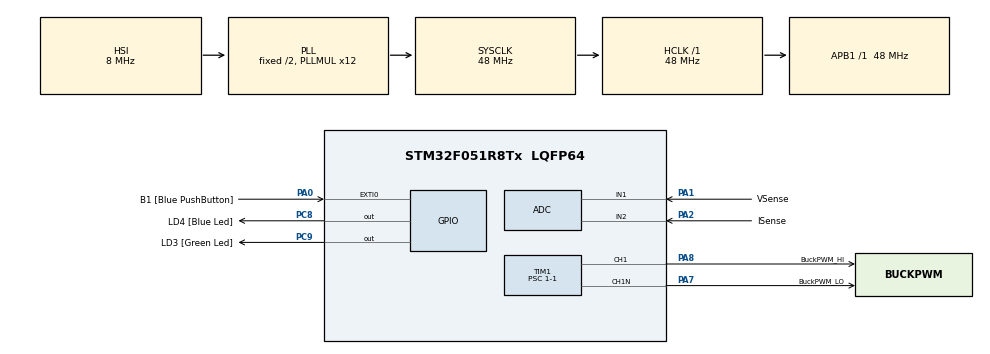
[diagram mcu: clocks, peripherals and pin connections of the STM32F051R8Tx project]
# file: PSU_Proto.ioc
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ADC.ClockPrescaler=ADC_CLOCK_SYNC_PCLK_DIV4
ADC.ContinuousConvMode=DISABLE
ADC.DiscontinuousConvMode=ENABLE
ADC.EOCSelection=ADC_EOC_SINGLE_CONV
ADC.SamplingTime=ADC_SAMPLETIME_1CYCLE_5
Mcu.Family=STM32F0
Mcu.Name=STM32F051R8Tx
Mcu.Package=LQFP64
PA0.GPIO_Label=B1 [Blue PushButton]
PA0.GPIO_ModeDefaultEXTI=GPIO_MODE_EVT_RISING_FALLING
PA0.GPIO_PuPd=GPIO_PULLDOWN
PA0.Signal=GPXTI0
PA1.GPIO_Label=VSense
PA1.Mode=IN1
PA1.Signal=ADC_IN1
PA13.GPIO_Label=SWDIO
PA13.Mode=Serial_Wire
PA13.Signal=SYS_SWDIO
PA14.GPIO_Label=SWCLK
PA14.Mode=Serial_Wire
PA14.Signal=SYS_SWCLK
PA2.GPIO_Label=ISense
PA2.Mode=IN2
PA2.Signal=ADC_IN2
PA7.GPIO_Label=BuckPWM_LO
PA7.Mode=PWM Generation1 CH1 CH1N
PA7.Signal=TIM1_CH1N
PA8.GPIO_Label=BuckPWM_HI
PA8.Signal=S_TIM1_CH1
PC8.GPIO_Label=LD4 [Blue Led]
PC8.Signal=GPIO_Output
PC9.GPIO_Label=LD3 [Green Led]
PC9.Signal=GPIO_Output
ProjectManager.HeapSize=0x200
ProjectManager.StackSize=0x400
ProjectManager.TargetToolchain=SW4STM32
RCC.AHBFreq_Value=48000000
RCC.APB1Freq_Value=48000000
RCC.APB1TimFreq_Value=48000000
RCC.HCLKFreq_Value=48000000
RCC.PLLMUL=RCC_PLL_MUL12
RCC.SYSCLKFreq_VALUE=48000000
RCC.SYSCLKSource=RCC_SYSCLKSOURCE_PLLCLK
SH.S_TIM1_CH1.0=TIM1_CH1,PWM Generation1 CH1 CH1N
TIM1.AutoReloadPreload=TIM_AUTORELOAD_PRELOAD_DISABLE
TIM1.AutomaticOutput=TIM_AUTOMATICOUTPUT_DISABLE
TIM1.BreakPolarity=TIM_BREAKPOLARITY_HIGH
TIM1.BreakState=TIM_BREAK_DISABLE
TIM1.Channel-PWM\ Generation1\ CH1\ CH1N=TIM_CHANNEL_1
TIM1.CounterMode=TIM_COUNTERMODE_UP
TIM1.DeadTime=5
TIM1.LockLevel=TIM_LOCKLEVEL_OFF
TIM1.OCIdleState_1=TIM_OCIDLESTATE_RESET
TIM1.OCNIdleState_1=TIM_OCNIDLESTATE_RESET
TIM1.OCNPolarity_1=TIM_OCNPOLARITY_HIGH
TIM1.OCPolarity_1=TIM_OCPOLARITY_HIGH
TIM1.OffStateIDLEMode=TIM_OSSI_DISABLE
TIM1.OffStateRunMode=TIM_OSSR_DISABLE
TIM1.Period=96-1
TIM1.Prescaler=1-1
TIM1.TIM_MasterOutputTrigger=TIM_TRGO_RESET
VP_TIM1_VS_ClockSourceINT.Mode=Internal
board=STM32F0DISCOVERY

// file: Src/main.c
/* USER CODE BEGIN Header */
/**
  ******************************************************************************
  * @file           : main.c
  * @brief          : Main program body
  ******************************************************************************
  * @attention
  *
  * <h2><center>&copy; Copyright (c) 2019 STMicroelectronics.
  * All rights reserved.</center></h2>
  *
  * This software component is licensed by ST under BSD 3-Clause license,
  * the "License"; You may not use this file except in compliance with the
  * License. You may obtain a copy of the License at:
  *                        opensource.org/licenses/BSD-3-Clause
  *
  ******************************************************************************
  */
/* USER CODE END Header */

#include "main.h"

/* USER CODE BEGIN Includes */
    #include "arm_math.h"

/* USER CODE END Includes */

/* USER CODE BEGIN PD */
    #define VOLT_DIV_FACTOR		0.0490 	// assuming R1 = 16.4k and R2 = 1k
    #define CURR_DIV_FACTOR 	0.5*0.35		// CSA gain is 0.5V/A
	#define N					500		// moving avg approx uses 500 past samples
/* USER CODE END PD */

ADC_HandleTypeDef hadc;

TIM_HandleTypeDef htim1;

/* USER CODE BEGIN PV */
    float pwm_val = 0;
    float v_sense = 0;
    float i_sense = 0;
    float rload = 0;                //calculated load resistance??
    float pid_error = 0;
    int user_en = 1;                	//output enable
    float i_lim = 0.020;                //user selected current limit
    float v_lim = 5;                //user selected voltage limiit
    float v_sense_avg = 0;
    float i_sense_avg = 0;
    float pid_error_avg = 0;

    int cv_cc = 1;					//cv = 1, cc = 0 (modes of operation)

/* USER CODE END PV */

void SystemClock_Config(void);
static void MX_GPIO_Init(void);
static void MX_ADC_Init(void);
static void MX_TIM1_Init(void);
/* USER CODE BEGIN PFP */
static float approxMovingAvg(float avg, float new_sample);
/* USER CODE END PFP */

int main(void)
{
  /* USER CODE BEGIN 1 */
    int raw_voltage = 0;            //12b value from adc for vsense
    int raw_current = 0;            //12b value from adc for isense
    float voltage = 0;              //0-3V conversion for voltage
    float current = 0;              //0-3V conversion for current
    float percent_voltage = 0;      //%V from 0-3
    float percent_current = 0;      //%I signal from 0-3V

    float PID_Kp = 300;             //proportional gain
    float PID_Ki = 0.001;           //integral gain
    float PID_Kd = -5;              //derivative gain

  /* USER CODE END 1 */

  /* MCU Configuration--------------------------------------------------------*/

  /* Reset of all peripherals, Initializes the Flash interface and the Systick. */
  HAL_Init();

  /* USER CODE BEGIN Init */
      arm_pid_instance_f32 PID;     //ARM PID instance float 32b

      PID.Kp = PID_Kp;
      PID.Ki = PID_Ki;
      PID.Kd = PID_Kd;

      arm_pid_init_f32(&PID, 1);

  /* USER CODE END Init */

  /* Configure the system clock */
  SystemClock_Config();

  /* Initialize all configured peripherals */
  MX_GPIO_Init();
  MX_ADC_Init();
  MX_TIM1_Init();
  /* USER CODE BEGIN 2 */
  HAL_TIM_PWM_Start(&htim1, TIM_CHANNEL_1);
  HAL_TIMEx_PWMN_Start(&htim1, TIM_CHANNEL_1);
  HAL_Delay(100);	//delay to allow micro to startup before pwm output

  /* USER CODE END 2 */

  /* Infinite loop */
  while (1)
  {

    /* USER CODE BEGIN 3 */
      user_en = HAL_GPIO_ReadPin(B1_GPIO_Port, B1_Pin);

      HAL_ADC_Start(&hadc);                             //start ADC
      HAL_ADC_PollForConversion(&hadc, 10);             //poll until complete
      raw_voltage = HAL_ADC_GetValue(&hadc);            //collect raw voltage

      HAL_ADC_Start(&hadc);                             //start ADC
      HAL_ADC_PollForConversion(&hadc, 10);             //poll until complete
      raw_current = HAL_ADC_GetValue(&hadc);            //collect raw current

      HAL_ADC_Stop(&hadc);                              //stop ADC

      percent_voltage = ((float) raw_voltage) / 4092;   //%V
      percent_current = ((float) raw_current) / 4092;   //%I

      voltage = percent_voltage * 3;                    //0-3V voltage signal
      current = percent_current * 3;                    //0-3V current signal

      v_sense = voltage / VOLT_DIV_FACTOR;              //0-50V voltage
      i_sense = current / CURR_DIV_FACTOR;              //0-3A current

      v_sense_avg = approxMovingAvg(v_sense_avg, v_sense);
      i_sense_avg = approxMovingAvg(i_sense_avg, i_sense);

      rload = v_sense_avg / i_sense_avg;                       	//calculated load R???

      if(i_sense_avg >= i_lim)	//cc mode
    	  cv_cc = 0;
      else if(v_sense_avg >= v_lim)	//cv mode
    	  cv_cc = 1;

      //for debugging only (simulated current and voltage sensing)
    /*  if(voltage < 1.5)
         HAL_GPIO_WritePin(LD4_GPIO_Port, LD4_Pin, GPIO_PIN_RESET);
      else
          HAL_GPIO_WritePin(LD4_GPIO_Port, LD4_Pin, GPIO_PIN_SET);

      if(current < 1.5)
          HAL_GPIO_WritePin(LD3_GPIO_Port, LD3_Pin, GPIO_PIN_RESET);
      else
          HAL_GPIO_WritePin(LD3_GPIO_Port, LD3_Pin, GPIO_PIN_SET);
	*/

      if(cv_cc == 1){
    	  HAL_GPIO_WritePin(LD3_GPIO_Port, LD3_Pin, GPIO_PIN_RESET);
    	  HAL_GPIO_WritePin(LD4_GPIO_Port, LD4_Pin, GPIO_PIN_SET);
      }
      else
      {
    	  HAL_GPIO_WritePin(LD3_GPIO_Port, LD3_Pin, GPIO_PIN_SET);
    	  HAL_GPIO_WritePin(LD4_GPIO_Port, LD4_Pin, GPIO_PIN_RESET);
      }

      if(cv_cc == 1){ 	//if in CV mode
    	  pid_error = v_lim - v_sense_avg;
	  }
      else {			//in CC mode
    	  pid_error = i_lim - i_sense_avg;
      }

      //PWM calculation via PID
      //pid_error = v_lim - v_sense_avg;
      //pid_error_avg = approxMovingAvg(pid_error_avg, pid_error);
      //pwm_val = arm_pid_f32(&PID, pid_error);

      //for debugging using potentiometer
      pwm_val = current*30;

      //pwm max duty cycle values
      if(pwm_val > 100)
    	pwm_val = 100;

      if(pwm_val < 0)
    	  pwm_val = 0;

      //setting new PWM val in timer reg
      __HAL_TIM_SET_COMPARE(&htim1, TIM_CHANNEL_1,pwm_val);

  }
  /* USER CODE END 3 */
}

void SystemClock_Config(void)
{
  RCC_OscInitTypeDef RCC_OscInitStruct = {0};
  RCC_ClkInitTypeDef RCC_ClkInitStruct = {0};

  /** Initializes the CPU, AHB and APB busses clocks
  */
  RCC_OscInitStruct.OscillatorType = RCC_OSCILLATORTYPE_HSI;
  RCC_OscInitStruct.HSIState = RCC_HSI_ON;
  RCC_OscInitStruct.HSICalibrationValue = RCC_HSICALIBRATION_DEFAULT;
  RCC_OscInitStruct.PLL.PLLState = RCC_PLL_ON;
  RCC_OscInitStruct.PLL.PLLSource = RCC_PLLSOURCE_HSI;
  RCC_OscInitStruct.PLL.PLLMUL = RCC_PLL_MUL12;
  RCC_OscInitStruct.PLL.PREDIV = RCC_PREDIV_DIV1;
  if (HAL_RCC_OscConfig(&RCC_OscInitStruct) != HAL_OK)
  {
    Error_Handler();
  }
  /** Initializes the CPU, AHB and APB busses clocks
  */
  RCC_ClkInitStruct.ClockType = RCC_CLOCKTYPE_HCLK|RCC_CLOCKTYPE_SYSCLK
                              |RCC_CLOCKTYPE_PCLK1;
  RCC_ClkInitStruct.SYSCLKSource = RCC_SYSCLKSOURCE_PLLCLK;
  RCC_ClkInitStruct.AHBCLKDivider = RCC_SYSCLK_DIV1;
  RCC_ClkInitStruct.APB1CLKDivider = RCC_HCLK_DIV1;

  if (HAL_RCC_ClockConfig(&RCC_ClkInitStruct, FLASH_LATENCY_1) != HAL_OK)
  {
    Error_Handler();
  }
}

static void MX_ADC_Init(void)
{

  ADC_ChannelConfTypeDef sConfig = {0};

  /** Configure the global features of the ADC (Clock, Resolution, Data Alignment and number of conversion)
  */
  hadc.Instance = ADC1;
  hadc.Init.ClockPrescaler = ADC_CLOCK_SYNC_PCLK_DIV4;
  hadc.Init.Resolution = ADC_RESOLUTION_12B;
  hadc.Init.DataAlign = ADC_DATAALIGN_RIGHT;
  hadc.Init.ScanConvMode = ADC_SCAN_DIRECTION_FORWARD;
  hadc.Init.EOCSelection = ADC_EOC_SINGLE_CONV;
  hadc.Init.LowPowerAutoWait = DISABLE;
  hadc.Init.LowPowerAutoPowerOff = DISABLE;
  hadc.Init.ContinuousConvMode = DISABLE;
  hadc.Init.DiscontinuousConvMode = ENABLE;
  hadc.Init.ExternalTrigConv = ADC_SOFTWARE_START;
  hadc.Init.ExternalTrigConvEdge = ADC_EXTERNALTRIGCONVEDGE_NONE;
  hadc.Init.DMAContinuousRequests = DISABLE;
  hadc.Init.Overrun = ADC_OVR_DATA_PRESERVED;
  if (HAL_ADC_Init(&hadc) != HAL_OK)
  {
    Error_Handler();
  }
  /** Configure for the selected ADC regular channel to be converted.
  */
  sConfig.Channel = ADC_CHANNEL_1;
  sConfig.Rank = ADC_RANK_CHANNEL_NUMBER;
  sConfig.SamplingTime = ADC_SAMPLETIME_1CYCLE_5;
  if (HAL_ADC_ConfigChannel(&hadc, &sConfig) != HAL_OK)
  {
    Error_Handler();
  }
  /** Configure for the selected ADC regular channel to be converted.
  */
  sConfig.Channel = ADC_CHANNEL_2;
  if (HAL_ADC_ConfigChannel(&hadc, &sConfig) != HAL_OK)
  {
    Error_Handler();
  }

}

static void MX_TIM1_Init(void)
{

  TIM_ClockConfigTypeDef sClockSourceConfig = {0};
  TIM_MasterConfigTypeDef sMasterConfig = {0};
  TIM_OC_InitTypeDef sConfigOC = {0};
  TIM_BreakDeadTimeConfigTypeDef sBreakDeadTimeConfig = {0};

  htim1.Instance = TIM1;
  htim1.Init.Prescaler = 1-1;
  htim1.Init.CounterMode = TIM_COUNTERMODE_UP;
  htim1.Init.Period = 96-1;
  htim1.Init.ClockDivision = TIM_CLOCKDIVISION_DIV1;
  htim1.Init.RepetitionCounter = 0;
  htim1.Init.AutoReloadPreload = TIM_AUTORELOAD_PRELOAD_DISABLE;
  if (HAL_TIM_Base_Init(&htim1) != HAL_OK)
  {
    Error_Handler();
  }
  sClockSourceConfig.ClockSource = TIM_CLOCKSOURCE_INTERNAL;
  if (HAL_TIM_ConfigClockSource(&htim1, &sClockSourceConfig) != HAL_OK)
  {
    Error_Handler();
  }
  if (HAL_TIM_PWM_Init(&htim1) != HAL_OK)
  {
    Error_Handler();
  }
  sMasterConfig.MasterOutputTrigger = TIM_TRGO_RESET;
  sMasterConfig.MasterSlaveMode = TIM_MASTERSLAVEMODE_DISABLE;
  if (HAL_TIMEx_MasterConfigSynchronization(&htim1, &sMasterConfig) != HAL_OK)
  {
    Error_Handler();
  }
  sConfigOC.OCMode = TIM_OCMODE_PWM1;
  sConfigOC.Pulse = 0;
  sConfigOC.OCPolarity = TIM_OCPOLARITY_HIGH;
  sConfigOC.OCNPolarity = TIM_OCNPOLARITY_HIGH;
  sConfigOC.OCFastMode = TIM_OCFAST_DISABLE;
  sConfigOC.OCIdleState = TIM_OCIDLESTATE_RESET;
  sConfigOC.OCNIdleState = TIM_OCNIDLESTATE_RESET;
  if (HAL_TIM_PWM_ConfigChannel(&htim1, &sConfigOC, TIM_CHANNEL_1) != HAL_OK)
  {
    Error_Handler();
  }
  sBreakDeadTimeConfig.OffStateRunMode = TIM_OSSR_DISABLE;
  sBreakDeadTimeConfig.OffStateIDLEMode = TIM_OSSI_DISABLE;
  sBreakDeadTimeConfig.LockLevel = TIM_LOCKLEVEL_OFF;
  sBreakDeadTimeConfig.DeadTime = 5;
  sBreakDeadTimeConfig.BreakState = TIM_BREAK_DISABLE;
  sBreakDeadTimeConfig.BreakPolarity = TIM_BREAKPOLARITY_HIGH;
  sBreakDeadTimeConfig.AutomaticOutput = TIM_AUTOMATICOUTPUT_DISABLE;
  if (HAL_TIMEx_ConfigBreakDeadTime(&htim1, &sBreakDeadTimeConfig) != HAL_OK)
  {
    Error_Handler();
  }
  HAL_TIM_MspPostInit(&htim1);

}

static void MX_GPIO_Init(void)
{
  GPIO_InitTypeDef GPIO_InitStruct = {0};

  /* GPIO Ports Clock Enable */
  __HAL_RCC_GPIOA_CLK_ENABLE();
  __HAL_RCC_GPIOC_CLK_ENABLE();

  /*Configure GPIO pin Output Level */
  HAL_GPIO_WritePin(GPIOC, LD4_Pin|LD3_Pin, GPIO_PIN_RESET);

  /*Configure GPIO pin : B1_Pin */
  GPIO_InitStruct.Pin = B1_Pin;
  GPIO_InitStruct.Mode = GPIO_MODE_EVT_RISING_FALLING;
  GPIO_InitStruct.Pull = GPIO_PULLDOWN;
  HAL_GPIO_Init(B1_GPIO_Port, &GPIO_InitStruct);

  /*Configure GPIO pins : LD4_Pin LD3_Pin */
  GPIO_InitStruct.Pin = LD4_Pin|LD3_Pin;
  GPIO_InitStruct.Mode = GPIO_MODE_OUTPUT_PP;
  GPIO_InitStruct.Pull = GPIO_NOPULL;
  GPIO_InitStruct.Speed = GPIO_SPEED_FREQ_LOW;
  HAL_GPIO_Init(GPIOC, &GPIO_InitStruct);

}

/* USER CODE BEGIN 4 */
static float approxMovingAvg(float avg, float newsample)
{
	avg -= avg / N;
	avg += newsample / N;

	return avg;
}
/* USER CODE END 4 */

void Error_Handler(void)
{
}

/************************ (C) COPYRIGHT STMicroelectronics *****END OF FILE****/
